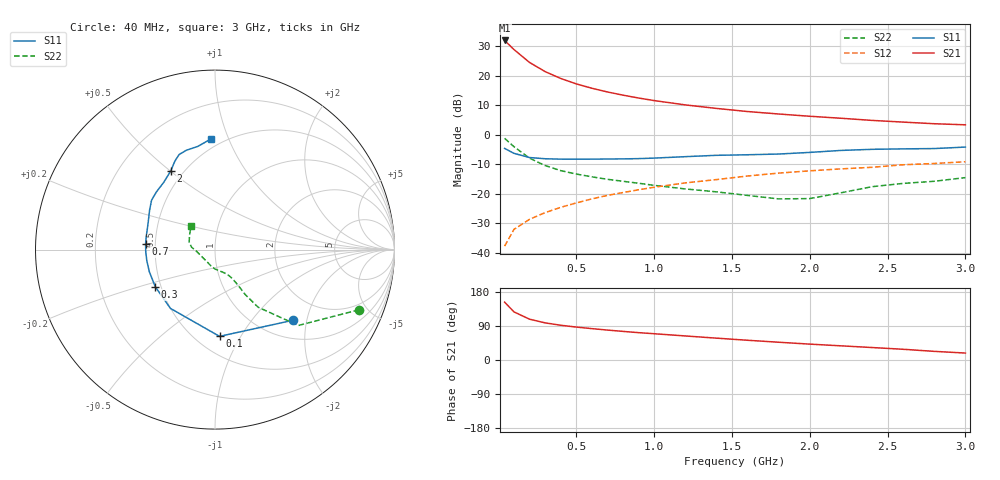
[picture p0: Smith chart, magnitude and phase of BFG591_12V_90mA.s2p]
! Filename:  BFG591I.S2P  Version:  4.0
! Philips part #: BFG591  Date: Jun 1994
! Bias condition: Vce=12V; Ic=90mA
#  MHz  S  MA  R  50
! Freq  S11  S21  S12  S22  !GUM [dB]
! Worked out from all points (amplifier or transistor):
!   21 points, 40 MHz to 3 GHz, reference 50 ohm
!   highest |S21| = 31.9 dB at 40 MHz (marker M1)
!   |S21| within 3 dB of that: start of sweep to 98.6 MHz
!   unconditionally stable (mu >= 1): 600.7 MHz to 2.173 GHz
!   at 300 MHz: K = 0.85, MSG = 23.9 dB, |S12| = -26.4 dB
!   at 1 GHz: K = 1.05, MAG = 13.3 dB, |S12| = -17.8 dB
!   at 3 GHz: K = 0.95, MSG = 6.2 dB, |S12| = -9.1 dB
!   S11 on the Smith chart (normalised r, x): 40 MHz: 1.38, -1.66; 100 MHz: 0.65, -0.82; 300 MHz: 0.47, -0.23; 700 MHz: 0.44, +0.03; 2 GHz: 0.43, +0.50; 3 GHz: 0.43, +0.87
40  0.587 -42.1  39.37 152.6  0.013 72.3  0.869 -22.7
100  0.484 -87.0  27.64 127.0  0.025 61.7  0.628 -42.3
200  0.411 -127.1  16.72 107.7  0.037 60.4  0.401 -53.2
300  0.392 -148.1  11.71 98.0  0.048 62.7  0.301 -56.1
400  0.386 -161.3  8.96 91.7  0.059 64.4  0.247 -56.9
500  0.385 -170.7  7.254 86.9  0.07 66.3  0.216 -57.8
600  0.386 -178.2  6.12 82.8  0.082 66.6  0.194 -58.9
700  0.388 175.3  5.294 79.0  0.094 67.1  0.176 -60.3
800  0.39 169.2  4.673 75.5  0.105 67.2  0.163 -62.1
900  0.394 163.2  4.182 72.2  0.117 67.0  0.151 -64.7
1000  0.402 157.8  3.785 69.3  0.129 66.7  0.139 -68.4
1200  0.425 149.1  3.197 63.5  0.153 65.2  0.121 -78.2
1400  0.448 142.1  2.788 57.7  0.174 63.4  0.108 -90.0
1600  0.458 135.5  2.468 52.1  0.2 62.1  0.094 -103.4
1800  0.471 127.4  2.242 46.9  0.224 59.0  0.082 -121.2
2000  0.502 119.5  2.053 41.9  0.245 57.1  0.083 -151.5
2200  0.542 114.3  1.9 37.4  0.264 54.9  0.104 -175.1
2400  0.566 110.7  1.747 32.9  0.281 53.9  0.132 173.8
2600  0.576 106.1  1.635 28.3  0.31 50.2  0.15 163.7
2800  0.583 99.4  1.534 22.8  0.326 46.2  0.163 150.4
3000  0.618 91.9  1.471 18.3  0.349 44.7  0.188 135.2
